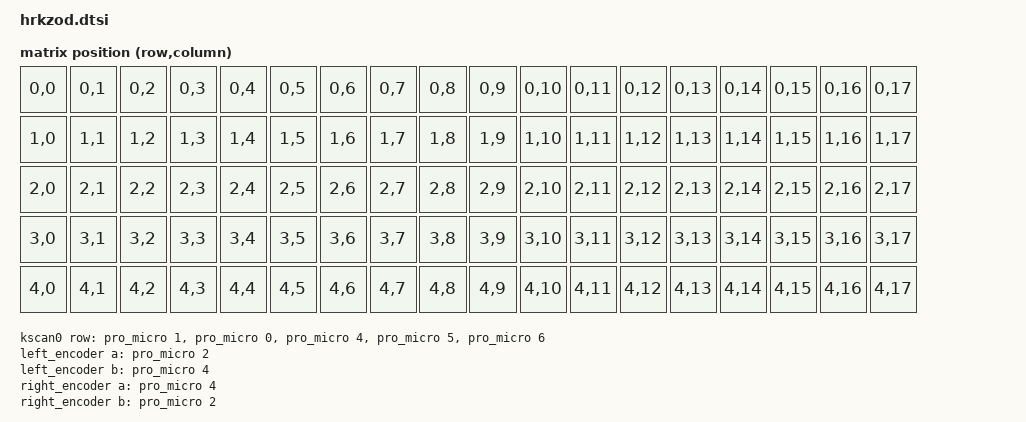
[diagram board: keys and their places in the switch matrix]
/*
 * Copyright (c) 2021 The ZMK Contributors
 *
 * SPDX-License-Identifier: MIT
 */

#include <dt-bindings/zmk/matrix_transform.h>

/ {
    chosen {
        zephyr,display = &oled;(lib_symbols
	(symbol "Diode:1N4148"
		(pin_numbers
			(hide yes)
		)
		(pin_names
			(hide yes)
		)
		(exclude_from_sim no)
		(in_bom yes)
		(on_board yes)
		(property "Reference" "D"
			(at 0 2.54 0)
			(effects
				(font (size 1.27 1.27))
			)
		)
		(property "Value" "1N4148"
			(at 0 -2.54 0)
			(effects
				(font (size 1.27 1.27))
			)
		)
		(property "Footprint" "Diode_THT:D_DO-35_SOD27_P7.62mm_Horizontal"
			(at 0 0 0)
			(effects
				(font (size 1.27 1.27))
				(hide yes)
			)
		)
		(property "Datasheet" "https://assets.nexperia.com/documents/data-sheet/1N4148_1N4448.pdf"
			(at 0 0 0)
			(effects
				(font (size 1.27 1.27))
				(hide yes)
			)
		)
		(property "Description" "100V 0.15A standard switching diode, DO-35"
			(at 0 0 0)
			(effects
				(font (size 1.27 1.27))
				(hide yes)
			)
		)
		(property "Sim.Device" "D"
			(at 0 0 0)
			(effects
				(font (size 1.27 1.27))
				(hide yes)
			)
		)
		(property "Sim.Pins" "1=K 2=A"
			(at 0 0 0)
			(effects
				(font (size 1.27 1.27))
				(hide yes)
			)
		)
		(property "ki_keywords" "diode"
			(at 0 0 0)
			(effects
				(font (size 1.27 1.27))
				(hide yes)
			)
		)
		(property "ki_fp_filters" "D*DO?35*"
			(at 0 0 0)
			(effects
				(font (size 1.27 1.27))
				(hide yes)
			)
		)
		(symbol "1N4148_0_1"
			(polyline
				(pts
					(xy -1.27 1.27) (xy -1.27 -1.27)
				)
				(stroke (width 0.254) (type default))
				(fill (type none))
			)
			(polyline
				(pts
					(xy 1.27 1.27) (xy 1.27 -1.27) (xy -1.27 0) (xy 1.27 1.27)
				)
				(stroke (width 0.254) (type default))
				(fill (type none))
			)
			(polyline
				(pts
					(xy 1.27 0) (xy -1.27 0)
				)
				(stroke (width 0) (type default))
				(fill (type none))
			)
		)
		(symbol "1N4148_1_1"
			(pin passive line
				(at -3.81 0 0)
				(length 2.54)
				(name "K"
					(effects
						(font (size 1.27 1.27))
					)
				)
				(number "1"
					(effects
						(font (size 1.27 1.27))
					)
				)
			)
			(pin passive line
				(at 3.81 0 180)
				(length 2.54)
				(name "A"
					(effects
						(font (size 1.27 1.27))
					)
				)
				(number "2"
					(effects
						(font (size 1.27 1.27))
					)
				)
			)
		)
		(embedded_fonts no)
	)
	(symbol "ScottoKeebs:Placeholder_Keyswitch"
		(pin_numbers
			(hide yes)
		)
		(pin_names
			(offset 1.016)
			(hide yes)
		)
		(exclude_from_sim no)
		(in_bom yes)
		(on_board yes)
		(property "Reference" "S"
			(at 3.048 1.016 0)
			(effects
				(font (size 1.27 1.27))
				(justify left)
			)
		)
		(property "Value" "Keyswitch"
			(at 0 -3.81 0)
			(effects
				(font (size 1.27 1.27))
			)
		)
		(property "Footprint" ""
			(at 0 0 0)
			(effects
				(font (size 1.27 1.27))
				(hide yes)
			)
		)
		(property "Datasheet" "~"
			(at 0 0 0)
			(effects
				(font (size 1.27 1.27))
				(hide yes)
			)
		)
		(property "Description" "Push button switch, normally open, two pins, 45° tilted"
			(at 0 0 0)
			(effects
				(font (size 1.27 1.27))
				(hide yes)
			)
		)
		(property "ki_keywords" "switch normally-open pushbutton push-button"
			(at 0 0 0)
			(effects
				(font (size 1.27 1.27))
				(hide yes)
			)
		)
		(symbol "Placeholder_Keyswitch_0_1"
			(polyline
				(pts
					(xy -2.54 2.54) (xy -1.524 1.524) (xy -1.524 1.524)
				)
				(stroke (width 0) (type default))
				(fill (type none))
			)
			(circle
				(center -1.1684 1.1684)
				(radius 0.508)
				(stroke (width 0) (type default))
				(fill (type none))
			)
			(polyline
				(pts
					(xy -0.508 2.54) (xy 2.54 -0.508)
				)
				(stroke (width 0) (type default))
				(fill (type none))
			)
			(polyline
				(pts
					(xy 1.016 1.016) (xy 2.032 2.032)
				)
				(stroke (width 0) (type default))
				(fill (type none))
			)
			(circle
				(center 1.143 -1.1938)
				(radius 0.508)
				(stroke (width 0) (type default))
				(fill (type none))
			)
			(polyline
				(pts
					(xy 1.524 -1.524) (xy 2.54 -2.54) (xy 2.54 -2.54) (xy 2.54 -2.54)
				)
				(stroke (width 0) (type default))
				(fill (type none))
			)
			(pin passive line
				(at -2.54 2.54 0)
				(length 0)
				(name "1"
					(effects
						(font (size 1.27 1.27))
					)
				)
				(number "1"
					(effects
						(font (size 1.27 1.27))
					)
				)
			)
			(pin passive line
				(at 2.54 -2.54 180)
				(length 0)
				(name "2"
					(effects
						(font (size 1.27 1.27))
					)
				)
				(number "2"
					(effects
						(font (size 1.27 1.27))
					)
				)
			)
		)
		(embedded_fonts no)
	)
)
(symbol
	(lib_id "Diode:1N4148")
	(at 43.18 64.77 0)
	(unit 1)
	(exclude_from_sim no)
	(in_bom yes)
	(on_board yes)
	(dnp no)
	(fields_autoplaced yes)
	(uuid "9d3d396b-22ea-46bd-9231-43f8671496cd")
	(property "Reference" "D0"
		(at 43.18 58.42 0)
		(effects
			(font (size 1.27 1.27))
		)
	)
	(property "Value" "1N4148"
		(at 43.18 60.96 0)
		(effects
			(font (size 1.27 1.27))
		)
	)
	(property "Footprint" "Diode_DO35:Diode_DO-35"
		(at 43.18 64.77 0)
		(effects
			(font (size 1.27 1.27))
			(hide yes)
		)
	)
	(property "Datasheet" "https://assets.nexperia.com/documents/data-sheet/1N4148_1N4448.pdf"
		(at 43.18 64.77 0)
		(effects
			(font (size 1.27 1.27))
			(hide yes)
		)
	)
	(property "Description" "100V 0.15A standard switching diode, DO-35"
		(at 43.18 64.77 0)
		(effects
			(font (size 1.27 1.27))
			(hide yes)
		)
	)
	(property "Sim.Device" "D"
		(at 43.18 64.77 0)
		(effects
			(font (size 1.27 1.27))
			(hide yes)
		)
	)
	(property "Sim.Pins" "1=K 2=A"
		(at 43.18 64.77 0)
		(effects
			(font (size 1.27 1.27))
			(hide yes)
		)
	)
	(pin "1"
		(uuid "cd92921e-217d-402e-b1c9-e03964a61249")
	)
	(pin "2"
		(uuid "dc28273c-3019-421f-bd97-efb920faf411")
	)
	(instances
		(project "mykeyboard"
			(path ""
				(reference "D0")
				(unit 1)
			)
		)
	)
)
(symbol
	(lib_id "ScottoKeebs:Placeholder_Keyswitch")
	(at 41.91 54.61 90)
	(unit 1)
	(exclude_from_sim no)
	(in_bom yes)
	(on_board yes)
	(dnp no)
	(uuid "c1b8b734-3335-4cc5-b20a-bc5facb5a2e3")
	(property "Reference" "S0"
		(at 38.862 46.99 90)
		(effects
			(font (size 1.27 1.27))
			(justify right)
		)
	)
	(property "Value" "Keyswitch"
		(at 38.862 49.53 90)
		(effects
			(font (size 1.27 1.27))
			(justify right)
		)
	)
	(property "Footprint" "ScottoKeebs_Hotswap:Hotswap_MX_Plated_B_1.00u"
		(at 41.91 54.61 0)
		(effects
			(font (size 1.27 1.27))
			(hide yes)
		)
	)
	(property "Datasheet" "~"
		(at 41.91 54.61 0)
		(effects
			(font (size 1.27 1.27))
			(hide yes)
		)
	)
	(property "Description" "Push button switch, normally open, two pins, 45° tilted"
		(at 41.91 54.61 0)
		(effects
			(font (size 1.27 1.27))
			(hide yes)
		)
	)
	(pin "1"
		(uuid "d56d0807-3023-4714-9cfc-c66715152513")
	)
	(pin "2"
		(uuid "efded622-e286-4d75-a210-38fdbbbdd4a1")
	)
	(instances
		(project "mykeyboard"
			(path ""
				(reference "S0")
				(unit 1)
			)
		)
	)
)

        zmk,kscan = &kscan0;
        zmk,matrix-transform = &default_transform;
    };

    default_transform: keymap_transform_0 {
        compatible = "zmk,matrix-transform";
        left-columns = <9>;
        right-columns = <9>;
        rows = <5>;

        map = <
RC(0,0) RC(0,1) RC(0,2) RC(0,3) RC(0,4) RC(0,5) RC(0,6) RC(0,7) RC(0,8)    RC(0,9) RC(0,10) RC(0,11) RC(0,12) RC(0,13) RC(0,14) RC(0,15) RC(0,16) RC(0,17)
RC(1,0) RC(1,1) RC(1,2) RC(1,3) RC(1,4) RC(1,5) RC(1,6) RC(1,7) RC(1,8)    RC(1,9) RC(1,10) RC(1,11) RC(1,12) RC(1,13) RC(1,14) RC(1,15) RC(1,16) RC(1,17)
RC(2,0) RC(2,1) RC(2,2) RC(2,3) RC(2,4) RC(2,5) RC(2,6) RC(2,7) RC(2,8)    RC(2,9) RC(2,10) RC(2,11) RC(2,12) RC(2,13) RC(2,14) RC(2,15) RC(2,16) RC(2,17)
RC(3,0) RC(3,1) RC(3,2) RC(3,3) RC(3,4) RC(3,5) RC(3,6) RC(3,7) RC(3,8)    RC(3,9) RC(3,10) RC(3,11) RC(3,12) RC(3,13) RC(3,14) RC(3,15) RC(3,16) RC(3,17)
RC(4,0) RC(4,1) RC(4,2) RC(4,3) RC(4,4) RC(4,5) RC(4,6) RC(4,7) RC(4,8)    RC(4,9) RC(4,10) RC(4,11) RC(4,12) RC(4,13) RC(4,14) RC(4,15) RC(4,16) RC(4,17)
        >;
    };

    kscan0: kscan {
        compatible = "zmk,kscan-gpio-matrix";
        wakeup-source;

        diode-direction = "col2row";
        row-gpios
            = <&pro_micro 1 (GPIO_ACTIVE_HIGH | GPIO_PULL_DOWN)>
            , <&pro_micro 0 (GPIO_ACTIVE_HIGH | GPIO_PULL_DOWN)>
            , <&pro_micro 4 (GPIO_ACTIVE_HIGH | GPIO_PULL_DOWN)>
            , <&pro_micro 5 (GPIO_ACTIVE_HIGH | GPIO_PULL_DOWN)>
            , <&pro_micro 6 (GPIO_ACTIVE_HIGH | GPIO_PULL_DOWN)>
            ;
    };

    left_encoder: encoder_left {
        compatible = "alps,ec11";
        a-gpios = <&pro_micro 2 (GPIO_ACTIVE_HIGH | GPIO_PULL_UP)>;
        b-gpios = <&pro_micro 4 (GPIO_ACTIVE_HIGH | GPIO_PULL_UP)>;
        steps = <80>;
        status = "disabled";
    };

    right_encoder: encoder_right {
        compatible = "alps,ec11";
        a-gpios = <&pro_micro 4 (GPIO_ACTIVE_HIGH | GPIO_PULL_UP)>;
        b-gpios = <&pro_micro 2 (GPIO_ACTIVE_HIGH | GPIO_PULL_UP)>;
        steps = <80>;
        status = "disabled";
    };

    sensors: sensors {
        compatible = "zmk,keymap-sensors";
        sensors = <&left_encoder &right_encoder>;
        triggers-per-rotation = <20>;
    };
};

&pro_micro_i2c {
    status = "okay";

    oled: ssd1306@3c {
        compatible = "solomon,ssd1306fb";
        reg = <0x3c>;
        width = <128>;
        height = <64>;
        segment-offset = <0>;
        page-offset = <0>;
        display-offset = <0>;
        multiplex-ratio = <31>;
        prechargep = <0x22>;
        inversion-on;
    };
};
